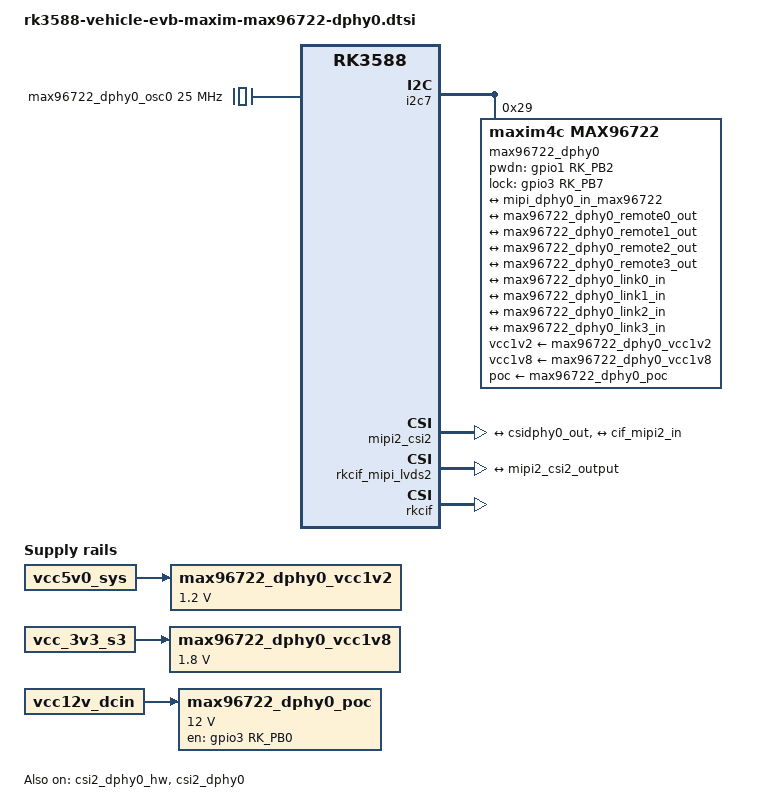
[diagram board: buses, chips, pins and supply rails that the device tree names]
// SPDX-License-Identifier: (GPL-2.0+ OR MIT)
/*
 * Copyright (c) 2023 Rockchip Electronics Co., Ltd.
 *
 */
#include <dt-bindings/display/media-bus-format.h>

/ {
	max96722_dphy0_osc0: max96722-dphy0-oscillator@0 {
		compatible = "fixed-clock";
		#clock-cells = <1>;
		clock-frequency = <25000000>;
		clock-output-names = "max96722-dphy0-osc0";
	};

	max96722_dphy0_vcc1v2: max96722-dphy0-vcc1v2 {
		compatible = "regulator-fixed";
		regulator-name = "max96722_dphy0_vcc1v2";
		regulator-boot-on;
		regulator-always-on;
		regulator-min-microvolt = <1200000>;
		regulator-max-microvolt = <1200000>;
		startup-delay-us = <850>;
		vin-supply = <&vcc5v0_sys>;
	};

	max96722_dphy0_vcc1v8: max96722-dphy0-vcc1v8 {
		compatible = "regulator-fixed";
		regulator-name = "max96722_dphy0_vcc1v8";
		regulator-boot-on;
		regulator-always-on;
		regulator-min-microvolt = <1800000>;
		regulator-max-microvolt = <1800000>;
		startup-delay-us = <200>;
		vin-supply = <&vcc_3v3_s3>;
	};

	max96722_dphy0_poc: max96722-dphy0-poc {
		compatible = "regulator-fixed";
		regulator-name = "max96722_dphy0_poc";
		regulator-boot-on;
		regulator-always-on;
		regulator-min-microvolt = <12000000>;
		regulator-max-microvolt = <12000000>;
		enable-active-high;
		gpio = <&gpio3 RK_PB0 GPIO_ACTIVE_HIGH>;
		startup-delay-us = <1050>;
		off-on-delay-us = <515000>;
		vin-supply = <&vcc12v_dcin>;
	};
};

&csi2_dphy0_hw {
	status = "okay";
};

&csi2_dphy0 {
	status = "okay";

	ports {
		#address-cells = <1>;
		#size-cells = <0>;
		port@0 {
			reg = <0>;
			#address-cells = <1>;
			#size-cells = <0>;

			mipi_dphy0_in_max96722: endpoint@1 {
				reg = <1>;
				remote-endpoint = <&max96722_dphy0_out>;
				data-lanes = <1 2 3 4>;
			};
		};
		port@1 {
			reg = <1>;
			#address-cells = <1>;
			#size-cells = <0>;

			csidphy0_out: endpoint@0 {
				reg = <0>;
				remote-endpoint = <&mipi2_csi2_input>;
			};
		};
	};
};

&i2c7 {
	status = "okay";
	pinctrl-names = "default";
	pinctrl-0 = <&i2c7m3_xfer>;

	max96722_dphy0: max96722@29 {
		compatible = "maxim4c,max96722";
		status = "okay";
		reg = <0x29>;
		clock-names = "xvclk";
		clocks = <&max96722_dphy0_osc0 0>;
		pinctrl-names = "default";
		pinctrl-0 = <&max96722_dphy0_pwdn>, <&max96722_dphy0_errb>, <&max96722_dphy0_lock>;
		power-domains = <&power RK3588_PD_VI>;
		rockchip,grf = <&sys_grf>;
		pwdn-gpios = <&gpio1 RK_PB2 GPIO_ACTIVE_HIGH>;
		lock-gpios = <&gpio3 RK_PB7 GPIO_ACTIVE_HIGH>;
		vcc1v2-supply = <&max96722_dphy0_vcc1v2>;
		vcc1v8-supply = <&max96722_dphy0_vcc1v8>;
		poc-supply = <&max96722_dphy0_poc>;

		rockchip,camera-module-index = <0>;
		rockchip,camera-module-facing = "back";
		rockchip,camera-module-name = "max96722";
		rockchip,camera-module-lens-name = "max96722";

		port {
			max96722_dphy0_out: endpoint {
				remote-endpoint = <&mipi_dphy0_in_max96722>;
				data-lanes = <1 2 3 4>;
			};
		};

		/* support mode config start */
		support-mode-config {
			status = "okay";

			bus-format = <MEDIA_BUS_FMT_UYVY8_2X8>;
			sensor-width = <1280>;
			sensor-height = <800>;
			max-fps-numerator = <10000>;
			max-fps-denominator = <300000>;
			bpp = <16>;
			link-freq-idx = <20>;
			vc-array = <0x10 0x20 0x40 0x80>; // VC0~3: bit4~7
		};
		/* support mode config end */

		/* serdes local device start */
		serdes-local-device {
			status = "okay";

			/* GMSL LINK config start */
			gmsl-links {
				status = "okay";

				link-vdd-ldo1-en = <1>;
				link-vdd-ldo2-en = <1>;

				// Link A: link-id = 0
				gmsl-link-config-0 {
					status = "okay";
					link-id = <0>; // Link ID: 0/1/2/3

					link-type = <0>;
					link-rx-rate = <0>;
					link-tx-rate = <0>;

					port {
						max96722_dphy0_link0_in: endpoint {
							remote-endpoint = <&max96722_dphy0_remote0_out>;
						};
					};

					link-init-sequence {
						seq-item-size = <5>; // reg-addr-len + reg-val-len * 2 + 1
						reg-addr-len = <2>; // 1: 8bits, 2: 16bits
						reg-val-len = <1>; // 1: 8bits, 2: 16bits, 3: 24bits

						// reg_addr reg_val val_mask delay
						init-sequence = [
							14 D1 03 00 00 // VGAHiGain
							14 45 00 00 00 // Disable SSC
							0B 06 ef 00 00 // HIM on
							0B 07 84 00 00 // Enable HVEN and DBL
							0B 0F 01 00 00 // Disable processing DE signals
						];
					};
				};

				// Link B: link-id = 1
				gmsl-link-config-1 {
					status = "okay";
					link-id = <1>; // Link ID: 0/1/2/3

					link-type = <0>;
					link-rx-rate = <0>;
					link-tx-rate = <0>;

					port {
						max96722_dphy0_link1_in: endpoint {
							remote-endpoint = <&max96722_dphy0_remote1_out>;
						};
					};

					link-init-sequence {
						seq-item-size = <5>; // reg-addr-len + reg-val-len * 2 + 1
						reg-addr-len = <2>; // 1: 8bits, 2: 16bits
						reg-val-len = <1>; // 1: 8bits, 2: 16bits, 3: 24bits

						// reg_addr reg_val val_mask delay
						init-sequence = [
							15 D1 03 00 00 // VGAHiGain
							15 45 00 00 00 // Disable SSC
							0C 06 ef 00 00 // HIM on
							0C 07 84 00 00 // Enable HVEN and DBL
							0C 0F 01 00 00 // Disable processing DE signals
						];
					};
				};

				// Link C: link-id = 2
				gmsl-link-config-2 {
					status = "okay";
					link-id = <2>; // Link ID: 0/1/2/3

					link-type = <0>;
					link-rx-rate = <0>;
					link-tx-rate = <0>;

					port {
						max96722_dphy0_link2_in: endpoint {
							remote-endpoint = <&max96722_dphy0_remote2_out>;
						};
					};

					link-init-sequence {
						seq-item-size = <5>; // reg-addr-len + reg-val-len * 2 + 1
						reg-addr-len = <2>; // 1: 8bits, 2: 16bits
						reg-val-len = <1>; // 1: 8bits, 2: 16bits, 3: 24bits

						// reg_addr reg_val val_mask delay
						init-sequence = [
							16 D1 03 00 00 // VGAHiGain
							16 45 00 00 00 // Disable SSC
							0D 06 ef 00 00 // HIM on
							0D 07 84 00 00 // Enable HVEN and DBL
							0D 0F 01 00 00 // Disable processing DE signals
						];
					};
				};

				// Link D: link-id = 3
				gmsl-link-config-3 {
					status = "okay";
					link-id = <3>; // Link ID: 0/1/2/3

					link-type = <0>;
					link-rx-rate = <0>;
					link-tx-rate = <0>;

					port {
						max96722_dphy0_link3_in: endpoint {
							remote-endpoint = <&max96722_dphy0_remote3_out>;
						};
					};

					link-init-sequence {
						seq-item-size = <5>; // reg-addr-len + reg-val-len * 2 + 1
						reg-addr-len = <2>; // 1: 8bits, 2: 16bits
						reg-val-len = <1>; // 1: 8bits, 2: 16bits, 3: 24bits

						// reg_addr reg_val val_mask delay
						init-sequence = [
							17 D1 03 00 00 // VGAHiGain
							17 45 00 00 00 // Disable SSC
							0E 06 ef 00 00 // HIM on
							0E 07 84 00 00 // Enable HVEN and DBL
							0E 0F 01 00 00 // Disable processing DE signals
						];
					};
				};
			};
			/* GMSL LINK config end */

			/* VIDEO PIPE config start */
			video-pipes {
				status = "okay";

				// Video Pipe 0
				video-pipe-config-0 {
					status = "okay";
					pipe-id = <0>; // Video Pipe ID: 0/1/2/3/4/5/6/7

					pipe-idx = <0>; // Video Pipe X/Y/Z/U: 0/1/2/3
					link-idx = <0>; // Link A/B/C/D: 0/1/2/3

					pipe-init-sequence {
						seq-item-size = <5>; // reg-addr-len + reg-val-len * 2 + 1
						reg-addr-len = <2>; // 1: 8bits, 2: 16bits
						reg-val-len = <1>; // 1: 8bits, 2: 16bits, 3: 24bits

						// reg_addr reg_val val_mask delay
						init-sequence = [
							// Send YUV422, FS, and FE from Video Pipe 0 to Controller 1
							09 0B 07 00 00 // Enable 0/1/2 SRC/DST Mappings
							09 2D 15 00 00 // SRC/DST 0/1/2 -> CSI2 Controller 1;
							// For the following MSB 2 bits = VC, LSB 6 bits = DT
							09 0D 1e 00 00 // SRC0 VC = 0, DT = YUV422 8bit
							09 0E 1e 00 00 // DST0 VC = 0, DT = YUV422 8bit
							09 0F 00 00 00 // SRC1 VC = 0, DT = Frame Start
							09 10 00 00 00 // DST1 VC = 0, DT = Frame Start
							09 11 01 00 00 // SRC2 VC = 0, DT = Frame End
							09 12 01 00 00 // DST2 VC = 0, DT = Frame End
						];
					};
				};

				// Video Pipe 1
				video-pipe-config-1 {
					status = "okay";
					pipe-id = <1>; // Video Pipe 1: pipe-id = 1

					pipe-idx = <0>; // Video Pipe X/Y/Z/U: 0/1/2/3
					link-idx = <1>; // Link A/B/C/D: 0/1/2/3

					pipe-init-sequence {
						seq-item-size = <5>; // reg-addr-len + reg-val-len * 2 + 1
						reg-addr-len = <2>; // 1: 8bits, 2: 16bits
						reg-val-len = <1>; // 1: 8bits, 2: 16bits, 3: 24bits

						// reg_addr reg_val val_mask delay
						init-sequence = [
							// Send YUV422, FS, and FE from Video Pipe 1 to Controller 1
							09 4B 07 00 00 // Enable 0/1/2 SRC/DST Mappings
							09 6D 15 00 00 // SRC/DST 0/1/2 -> CSI2 Controller 1;
							// For the following MSB 2 bits = VC, LSB 6 bits = DT
							09 4D 1e 00 00 // SRC0 VC = 0, DT = YUV422 8bit
							09 4E 5e 00 00 // DST0 VC = 1, DT = YUV422 8bit
							09 4F 00 00 00 // SRC1 VC = 0, DT = Frame Start
							09 50 40 00 00 // DST1 VC = 1, DT = Frame Start
							09 51 01 00 00 // SRC2 VC = 0, DT = Frame End
							09 52 41 00 00 // DST2 VC = 1, DT = Frame End
						];
					};
				};

				// Video Pipe 2
				video-pipe-config-2 {
					status = "okay";
					pipe-id = <2>; // Video Pipe ID: 0/1/2/3/4/5/6/7

					pipe-idx = <0>; // Video Pipe X/Y/Z/U: 0/1/2/3
					link-idx = <2>; // Link A/B/C/D: 0/1/2/3

					pipe-init-sequence {
						seq-item-size = <5>; // reg-addr-len + reg-val-len * 2 + 1
						reg-addr-len = <2>; // 1: 8bits, 2: 16bits
						reg-val-len = <1>; // 1: 8bits, 2: 16bits, 3: 24bits

						// reg_addr reg_val val_mask delay
						init-sequence = [
							// Send YUV422, FS, and FE from Video Pipe 2 to Controller 1
							09 8B 07 00 00 // Enable 0/1/2 SRC/DST Mappings
							09 AD 15 00 00 // SRC/DST 0/1/2 -> CSI2 Controller 1;
							// For the following MSB 2 bits = VC, LSB 6 bits = DT
							09 8D 1e 00 00 // SRC0 VC = 0, DT = YUV422 8bit
							09 8E 9e 00 00 // DST0 VC = 2, DT = YUV422 8bit
							09 8F 00 00 00 // SRC1 VC = 0, DT = Frame Start
							09 90 80 00 00 // DST1 VC = 2, DT = Frame Start
							09 91 01 00 00 // SRC2 VC = 0, DT = Frame End
							09 92 81 00 00 // DST2 VC = 2, DT = Frame End
						];
					};
				};

				// Video Pipe 3
				video-pipe-config-3 {
					status = "okay";
					pipe-id = <3>; // Video Pipe ID: 0/1/2/3/4/5/6/7

					pipe-idx = <0>; // Video Pipe X/Y/Z/U: 0/1/2/3
					link-idx = <3>; // Link A/B/C/D: 0/1/2/3

					pipe-init-sequence {
						seq-item-size = <5>; // reg-addr-len + reg-val-len * 2 + 1
						reg-addr-len = <2>; // 1: 8bits, 2: 16bits
						reg-val-len = <1>; // 1: 8bits, 2: 16bits, 3: 24bits

						// reg_addr reg_val val_mask delay
						init-sequence = [
							// Send YUV422, FS, and FE from Video Pipe 3 to Controller 1
							09 CB 07 00 00 // Enable 0/1/2 SRC/DST Mappings
							09 ED 15 00 00 // SRC/DST 0/1/2 -> CSI2 Controller 1;
							// For the following MSB 2 bits = VC, LSB 6 bits = DT
							09 CD 1e 00 00 // SRC0 VC = 0, DT = YUV422 8bit
							09 CE de 00 00 // DST0 VC = 3, DT = YUV422 8bit
							09 CF 00 00 00 // SRC1 VC = 0, DT = Frame Start
							09 D0 c0 00 00 // DST1 VC = 3, DT = Frame Start
							09 D1 01 00 00 // SRC2 VC = 0, DT = Frame End
							09 D2 c1 00 00 // DST2 VC = 3, DT = Frame End
						];
					};
				};

				// Software override for parallel mode
				parallel-mode-config {
					status = "okay";

					parallel-init-sequence {
						seq-item-size = <5>; // reg-addr-len + reg-val-len * 2 + 1
						reg-addr-len = <2>; // 1: 8bits, 2: 16bits
						reg-val-len = <1>; // 1: 8bits, 2: 16bits, 3: 24bits

						// reg_addr reg_val val_mask delay
						init-sequence = [
							// Enable software override for all pipes since GMSL1 data is parallel mode, bpp=8, dt=0x1e(yuv-8)
							04 1A f0 00 00 // pipe 0/1/2/3: Enable YUV8-/10-bit mux mode
							04 0B 40 00 00 // pipe 0 bpp=0x08: Datatypes = 0x2A, 0x10-12, 0x31-37
							04 0C 00 00 00 // pipe 0 and 1 VC software override: 0x00
							04 0D 00 00 00 // pipe 2 and 3 VC software override: 0x00
							04 0E 5e 00 00 // pipe 0 DT=0x1E: YUV422 8-bit
							04 0F 7e 00 00 // pipe 1 DT=0x1E: YUV422 8-bit
							04 10 7a 00 00 // pipe 2 DT=0x1E, pipe 3 DT=0x1E: YUV422 8-bit
							04 11 48 00 00 // pipe 1 bpp=0x08: Datatypes = 0x2A, 0x10-12, 0x31-37
							04 12 20 00 00 // pipe 2 bpp=0x08, pipe 3 bpp=0x08: Datatypes = 0x2A, 0x10-12, 0x31-37
							04 15 c0 c0 00 // pipe 0/1 enable software overide
							04 18 c0 c0 00 // pipe 2/3 enable software overide
						];
					};
				};
			};
			/* VIDEO PIPE config end */

			/* MIPI TXPHY config start */
			mipi-txphys {
				status = "okay";

				phy-mode = <0>;
				phy-force-clock-out = <1>;
				phy-force-clk0-en = <1>;
				phy-force-clk3-en = <0>;

				// MIPI TXPHY A: phy-id = 0
				mipi-txphy-config-0 {
					status = "okay";
					phy-id = <0>; // MIPI TXPHY ID: 0/1/2/3

					phy-type = <0>;
					auto-deskew = <0x80>;
					data-lane-num = <4>;
					data-lane-map = <0x4>;
					vc-ext-en = <0>;
				};

				// MIPI TXPHY B: phy-id = 1
				mipi-txphy-config-1 {
					status = "okay";
					phy-id = <1>; // MIPI TXPHY ID: 0/1/2/3

					phy-type = <0>;
					auto-deskew = <0x80>;
					data-lane-num = <4>;
					data-lane-map = <0xe>;
					vc-ext-en = <0>;
				};
			};
			/* MIPI TXPHY config end */

			/* local device extra init sequence */
			extra-init-sequence {
				status = "disabled";

				seq-item-size = <5>; // reg-addr-len + reg-val-len * 2 + 1
				reg-addr-len = <2>; // 1: 8bits, 2: 16bits
				reg-val-len = <1>; // 1: 8bits, 2: 16bits, 3: 24bits

				// reg_addr reg_val val_mask delay
				init-sequence = [
					// common init sequence such as fsync / gpio and so on
				];
			};
		};
		/* serdes local device end */

		/* serdes remote device start */
		serdes-remote-device-0 {
			compatible = "maxim4c,link0,max96715";
			status = "okay";

			remote-id = <0>; // Same as Link ID: 0/1/2/3

			// Serializer i2c 7bit address remap
			ser-i2c-addr-def = <0x40>;
			ser-i2c-addr-map = <0x41>; // 0: disable remap

			port {
				max96722_dphy0_remote0_out: endpoint {
					remote-endpoint = <&max96722_dphy0_link0_in>;
				};
			};

			remote-init-sequence {
				seq-item-size = <4>; // reg-addr-len + reg-val-len * 2 + 1
				reg-addr-len = <1>; // 1: 8bits, 2: 16bits
				reg-val-len = <1>; // 1: 8bits, 2: 16bits, 3: 24bits

				// reg_addr reg_val val_mask delay
				init-sequence = [
					07 84 00 00
					67 c4 00 00
					0F bf 00 00
					3F 08 00 00
					40 2d 00 00
					20 10 00 00
					21 11 00 00
					22 12 00 00
					23 13 00 00
					24 14 00 00
					25 15 00 00
					26 16 00 00
					27 17 00 00
					30 00 00 00
					31 01 00 00
					32 02 00 00
					33 03 00 00
					34 04 00 00
					35 05 00 00
					36 06 00 00
					37 07 00 00
				];
			};
		};

		serdes-remote-device-1 {
			compatible = "maxim4c,link1,max96715";
			status = "okay";

			remote-id = <1>; // Same as Link ID: 0/1/2/3

			// Serializer i2c 7bit address remap
			ser-i2c-addr-def = <0x40>;
			ser-i2c-addr-map = <0x42>; // 0: disable remap

			port {
				max96722_dphy0_remote1_out: endpoint {
					remote-endpoint = <&max96722_dphy0_link1_in>;
				};
			};

			remote-init-sequence {
				seq-item-size = <4>; // reg-addr-len + reg-val-len * 2 + 1
				reg-addr-len = <1>; // 1: 8bits, 2: 16bits
				reg-val-len = <1>; // 1: 8bits, 2: 16bits, 3: 24bits

				// reg_addr reg_val val_mask delay
				init-sequence = [
					07 84 00 00
					67 c4 00 00
					0F bf 00 00
					3F 08 00 00
					40 2d 00 00
					20 10 00 00
					21 11 00 00
					22 12 00 00
					23 13 00 00
					24 14 00 00
					25 15 00 00
					26 16 00 00
					27 17 00 00
					30 00 00 00
					31 01 00 00
					32 02 00 00
					33 03 00 00
					34 04 00 00
					35 05 00 00
					36 06 00 00
					37 07 00 00
				];
			};
		};

		serdes-remote-device-2 {
			compatible = "maxim4c,link2,max96715";
			status = "okay";

			remote-id = <2>; // Same as Link ID: 0/1/2/3

			// Serializer i2c 7bit address remap
			ser-i2c-addr-def = <0x40>;
			ser-i2c-addr-map = <0x43>; // 0: disable remap

			port {
				max96722_dphy0_remote2_out: endpoint {
					remote-endpoint = <&max96722_dphy0_link2_in>;
				};
			};

			remote-init-sequence {
				seq-item-size = <4>; // reg-addr-len + reg-val-len * 2 + 1
				reg-addr-len = <1>; // 1: 8bits, 2: 16bits
				reg-val-len = <1>; // 1: 8bits, 2: 16bits, 3: 24bits

				// reg_addr reg_val val_mask delay
				init-sequence = [
					07 84 00 00
					67 c4 00 00
					0F bf 00 00
					3F 08 00 00
					40 2d 00 00
					20 10 00 00
					21 11 00 00
					22 12 00 00
					23 13 00 00
					24 14 00 00
					25 15 00 00
					26 16 00 00
					27 17 00 00
					30 00 00 00
					31 01 00 00
					32 02 00 00
					33 03 00 00
					34 04 00 00
					35 05 00 00
					36 06 00 00
					37 07 00 00
				];
			};
		};

		serdes-remote-device-3 {
			compatible = "maxim4c,link3,max96715";
			status = "okay";

			remote-id = <3>; // Same as Link ID: 0/1/2/3

			// Serializer i2c 7bit address remap
			ser-i2c-addr-def = <0x40>;
			ser-i2c-addr-map = <0x44>; // 0: disable remap

			port {
				max96722_dphy0_remote3_out: endpoint {
					remote-endpoint = <&max96722_dphy0_link3_in>;
				};
			};

			remote-init-sequence {
				seq-item-size = <4>; // reg-addr-len + reg-val-len * 2 + 1
				reg-addr-len = <1>; // 1: 8bits, 2: 16bits
				reg-val-len = <1>; // 1: 8bits, 2: 16bits, 3: 24bits

				// reg_addr reg_val val_mask delay
				init-sequence = [
					07 84 00 00
					67 c4 00 00
					0F bf 00 00
					3F 08 00 00
					40 2d 00 00
					20 10 00 00
					21 11 00 00
					22 12 00 00
					23 13 00 00
					24 14 00 00
					25 15 00 00
					26 16 00 00
					27 17 00 00
					30 00 00 00
					31 01 00 00
					32 02 00 00
					33 03 00 00
					34 04 00 00
					35 05 00 00
					36 06 00 00
					37 07 00 00
				];
			};
		};
		/* serdes remote device end */
	};
};

&mipi2_csi2 {
	status = "okay";

	ports {
		#address-cells = <1>;
		#size-cells = <0>;

		port@0 {
			reg = <0>;
			#address-cells = <1>;
			#size-cells = <0>;

			mipi2_csi2_input: endpoint@1 {
				reg = <1>;
				remote-endpoint = <&csidphy0_out>;
			};
		};

		port@1 {
			reg = <1>;
			#address-cells = <1>;
			#size-cells = <0>;

			mipi2_csi2_output: endpoint@0 {
				reg = <0>;
				remote-endpoint = <&cif_mipi2_in>;
			};
		};
	};
};

&rkcif_mipi_lvds2 {
	status = "okay";
	/* parameters for do cif reset detecting:
	 * index0: monitor mode,
		   0 for idle,
		   1 for continue,
		   2 for trigger,
		   3 for hotplug (for nextchip)
	 * index1: the frame id to start timer,
		   min is 2
	 * index2: frame num of monitoring cycle
	 * index3: err time for keep monitoring
		   after finding out err (ms)
	 * index4: csi2 err reference val for resetting
	 */
	rockchip,cif-monitor = <3 2 1 1000 5>;

	port {
		cif_mipi2_in: endpoint {
			remote-endpoint = <&mipi2_csi2_output>;
		};
	};
};

&rkcif {
	status = "okay";
	rockchip,android-usb-camerahal-enable;
};

&rkcif_mmu {
	status = "okay";
};

&pinctrl {
	max96722-dphy0 {
		max96722_dphy0_pwdn: max96722-dphy0-pwdn {
			rockchip,pins = <1 RK_PB2 RK_FUNC_GPIO &pcfg_output_low>;
		};

		max96722_dphy0_errb: max96722-dphy0-errb {
			rockchip,pins = <3 RK_PD1 RK_FUNC_GPIO &pcfg_pull_none_smt>;
		};

		max96722_dphy0_lock: max96722-dphy0-lock {
			rockchip,pins = <3 RK_PB7 RK_FUNC_GPIO &pcfg_pull_none_smt>;
		};
	};
};
